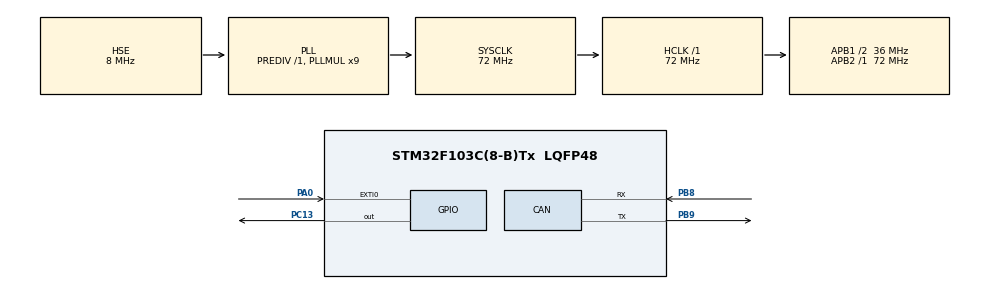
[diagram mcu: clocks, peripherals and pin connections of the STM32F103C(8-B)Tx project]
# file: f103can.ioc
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CAN.BS1=CAN_BS1_3TQ
CAN.BS2=CAN_BS2_5TQ
CAN.CalculateTimeBit=4000
CAN.CalculateTimeQuantum=444.44444444444446
Mcu.Family=STM32F1
Mcu.Name=STM32F103C(8-B)Tx
Mcu.Package=LQFP48
NVIC.EXTI0_IRQn=true\:0\:0\:false\:false\:true\:true
NVIC.PriorityGroup=NVIC_PRIORITYGROUP_4
NVIC.USB_LP_CAN1_RX0_IRQn=true\:0\:0\:false\:false\:true\:true
PA0-WKUP.GPIO_PuPd=GPIO_PULLDOWN
PA0-WKUP.Signal=GPXTI0
PA13.Mode=Serial_Wire
PA13.Signal=SYS_JTMS-SWDIO
PA14.Mode=Serial_Wire
PA14.Signal=SYS_JTCK-SWCLK
PB8.Mode=Master
PB8.Signal=CAN_RX
PB9.Mode=Master
PB9.Signal=CAN_TX
PC13-TAMPER-RTC.Signal=GPIO_Output
PD0-OSC_IN.Mode=HSE-External-Oscillator
PD0-OSC_IN.Signal=RCC_OSC_IN
PD1-OSC_OUT.Mode=HSE-External-Oscillator
PD1-OSC_OUT.Signal=RCC_OSC_OUT
ProjectManager.HeapSize=0x200
ProjectManager.StackSize=0x400
ProjectManager.TargetToolchain=TrueSTUDIO
RCC.AHBFreq_Value=72000000
RCC.APB1CLKDivider=RCC_HCLK_DIV2
RCC.APB1Freq_Value=36000000
RCC.APB1TimFreq_Value=72000000
RCC.APB2Freq_Value=72000000
RCC.APB2TimFreq_Value=72000000
RCC.HCLKFreq_Value=72000000
RCC.PLLMUL=RCC_PLL_MUL9
RCC.PLLSourceVirtual=RCC_PLLSOURCE_HSE
RCC.SYSCLKFreq_VALUE=72000000
RCC.SYSCLKSource=RCC_SYSCLKSOURCE_PLLCLK
RCC.USBFreq_Value=72000000
board=custom

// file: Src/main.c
/**
  ******************************************************************************
  * @file           : main.c
  * @brief          : Main program body
  ******************************************************************************
  ** This notice applies to any and all portions of this file
  * that are not between comment pairs USER CODE BEGIN and
  * USER CODE END. Other portions of this file, whether
  * inserted by the user or by software development tools
  * are owned by their respective copyright owners.
  *
  * COPYRIGHT(c) 2018 STMicroelectronics
  *
  * Redistribution and use in source and binary forms, with or without modification,
  * are permitted provided that the following conditions are met:
  *   1. Redistributions of source code must retain the above copyright notice,
  *      this list of conditions and the following disclaimer.
  *   2. Redistributions in binary form must reproduce the above copyright notice,
  *      this list of conditions and the following disclaimer in the documentation
  *      and/or other materials provided with the distribution.
  *   3. Neither the name of STMicroelectronics nor the names of its contributors
  *      may be used to endorse or promote products derived from this software
  *      without specific prior written permission.
  *
  * THIS SOFTWARE IS PROVIDED BY THE COPYRIGHT HOLDERS AND CONTRIBUTORS "AS IS"
  * AND ANY EXPRESS OR IMPLIED WARRANTIES, INCLUDING, BUT NOT LIMITED TO, THE
  * IMPLIED WARRANTIES OF MERCHANTABILITY AND FITNESS FOR A PARTICULAR PURPOSE ARE
  * DISCLAIMED. IN NO EVENT SHALL THE COPYRIGHT HOLDER OR CONTRIBUTORS BE LIABLE
  * FOR ANY DIRECT, INDIRECT, INCIDENTAL, SPECIAL, EXEMPLARY, OR CONSEQUENTIAL
  * DAMAGES (INCLUDING, BUT NOT LIMITED TO, PROCUREMENT OF SUBSTITUTE GOODS OR
  * SERVICES; LOSS OF USE, DATA, OR PROFITS; OR BUSINESS INTERRUPTION) HOWEVER
  * CAUSED AND ON ANY THEORY OF LIABILITY, WHETHER IN CONTRACT, STRICT LIABILITY,
  * OR TORT (INCLUDING NEGLIGENCE OR OTHERWISE) ARISING IN ANY WAY OUT OF THE USE
  * OF THIS SOFTWARE, EVEN IF ADVISED OF THE POSSIBILITY OF SUCH DAMAGE.
  *
  ******************************************************************************
  */
#include "main.h"
#include "stm32f1xx_hal.h"
#include "can.h"
#include "gpio.h"

CAN_HandleTypeDef hcan;
/* USER CODE BEGIN PV */
/* Private variables ---------------------------------------------------------*/
//CanTxMsgTypeDef*            TxM;
//CanRxMsgTypeDef*            RxM;
CAN_FilterConfTypeDef sFilterConfig;
/* USER CODE END PV */

void SystemClock_Config(void);

/* USER CODE BEGIN PFP */
/* Private function prototypes -----------------------------------------------*/

/* USER CODE END PFP */

uint8_t suspenssion_displacement[4] ;
int main(void)
{

  /* MCU Configuration----------------------------------------------------------*/

  /* Reset of all peripherals, Initializes the Flash interface and the Systick. */
  HAL_Init();

  /* Configure the system clock */
  SystemClock_Config();

  /* Initialize all configured peripherals */
  MX_GPIO_Init();
  MX_CAN_Init();
  /* USER CODE BEGIN 2 */
//hcan.pTxMsg=&TxM;
//hcan.pRxMsg=&RxM;

sFilterConfig.FilterNumber=0;
sFilterConfig.FilterMode=CAN_FILTERMODE_IDLIST;
sFilterConfig.FilterScale=CAN_FILTERSCALE_32BIT;
sFilterConfig.FilterIdHigh=0x245<<5;
sFilterConfig.FilterIdLow=0;
sFilterConfig.FilterMaskIdHigh=0;
sFilterConfig.FilterMaskIdLow=0;
sFilterConfig.FilterFIFOAssignment=0;
sFilterConfig.BankNumber=14;

HAL_CAN_ConfigFilter(&hcan, &sFilterConfig);
hcan.pTxMsg->StdId=0x244;
hcan.pTxMsg->RTR=CAN_RTR_DATA ;
hcan.pTxMsg->IDE=CAN_ID_STD ;
hcan.pTxMsg->DLC=1;

HAL_CAN_Receive_IT(&hcan ,  CAN_FIFO0) ;

suspenssion_displacement[0]=150;
suspenssion_displacement[1]=100;
suspenssion_displacement[2]=50;
suspenssion_displacement[3]=20;
  /* USER CODE END 2 */

  /* Infinite loop */
  /* USER CODE BEGIN WHILE */
  while (1)
  {

	 hcan.pTxMsg->Data[0]=(suspenssion_displacement[0] );

	 hcan.pTxMsg->Data[1]=(suspenssion_displacement[1]);

	  HAL_CAN_Transmit(&hcan, 1);

	// hcan.pTxMsg->Data[0]=(adc_data[0] & (0x0F));
	// hcan.pTxMsg->Data[1]=((adc_data[0] & (0xF0))>>8);

  /* USER CODE END WHILE */

  }

}

void SystemClock_Config(void)
{

  RCC_OscInitTypeDef RCC_OscInitStruct;
  RCC_ClkInitTypeDef RCC_ClkInitStruct;

    /**Initializes the CPU, AHB and APB busses clocks
    */
  RCC_OscInitStruct.OscillatorType = RCC_OSCILLATORTYPE_HSE;
  RCC_OscInitStruct.HSEState = RCC_HSE_ON;
  RCC_OscInitStruct.HSEPredivValue = RCC_HSE_PREDIV_DIV1;
  RCC_OscInitStruct.HSIState = RCC_HSI_ON;
  RCC_OscInitStruct.PLL.PLLState = RCC_PLL_ON;
  RCC_OscInitStruct.PLL.PLLSource = RCC_PLLSOURCE_HSE;
  RCC_OscInitStruct.PLL.PLLMUL = RCC_PLL_MUL9;
  if (HAL_RCC_OscConfig(&RCC_OscInitStruct) != HAL_OK)
  {
    _Error_Handler(__FILE__, __LINE__);
  }

    /**Initializes the CPU, AHB and APB busses clocks
    */
  RCC_ClkInitStruct.ClockType = RCC_CLOCKTYPE_HCLK|RCC_CLOCKTYPE_SYSCLK
                              |RCC_CLOCKTYPE_PCLK1|RCC_CLOCKTYPE_PCLK2;
  RCC_ClkInitStruct.SYSCLKSource = RCC_SYSCLKSOURCE_PLLCLK;
  RCC_ClkInitStruct.AHBCLKDivider = RCC_SYSCLK_DIV1;
  RCC_ClkInitStruct.APB1CLKDivider = RCC_HCLK_DIV2;
  RCC_ClkInitStruct.APB2CLKDivider = RCC_HCLK_DIV1;

  if (HAL_RCC_ClockConfig(&RCC_ClkInitStruct, FLASH_LATENCY_2) != HAL_OK)
  {
    _Error_Handler(__FILE__, __LINE__);
  }

    /**Configure the Systick interrupt time
    */
  HAL_SYSTICK_Config(HAL_RCC_GetHCLKFreq()/1000);

    /**Configure the Systick
    */
  HAL_SYSTICK_CLKSourceConfig(SYSTICK_CLKSOURCE_HCLK);

  /* SysTick_IRQn interrupt configuration */
  HAL_NVIC_SetPriority(SysTick_IRQn, 0, 0);
}

void _Error_Handler(char *file, int line)
{
  while(1)
  {
  }
}

/************************ (C) COPYRIGHT STMicroelectronics *****END OF FILE****/
